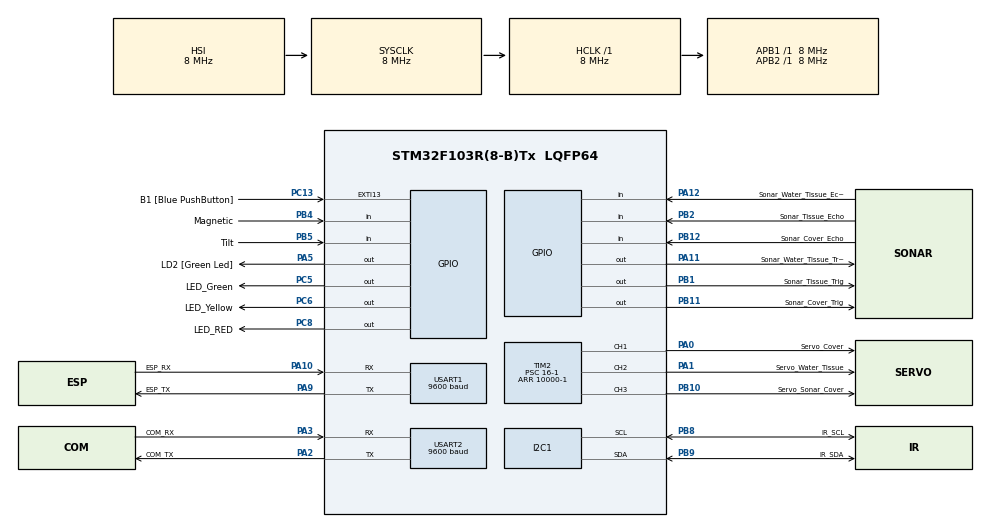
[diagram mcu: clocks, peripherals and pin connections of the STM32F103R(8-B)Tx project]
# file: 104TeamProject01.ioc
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Mcu.Family=STM32F1
Mcu.Name=STM32F103R(8-B)Tx
Mcu.Package=LQFP64
NVIC.EXTI15_10_IRQn=true\:0\:0\:false\:false\:true\:true\:true\:true
NVIC.PriorityGroup=NVIC_PRIORITYGROUP_4
NVIC.TIM1_CC_IRQn=true\:0\:0\:false\:false\:true\:true\:true\:true
NVIC.TIM1_UP_IRQn=true\:0\:0\:false\:false\:true\:true\:true\:true
NVIC.USART1_IRQn=true\:0\:0\:false\:false\:true\:true\:true\:true
PA0-WKUP.GPIO_Label=Servo_Cover
PA0-WKUP.Signal=S_TIM2_CH1_ETR
PA1.GPIO_Label=Servo_Water_Tissue
PA1.Signal=S_TIM2_CH2
PA10.GPIO_Label=ESP_RX
PA10.Mode=Asynchronous
PA10.Signal=USART1_RX
PA11.GPIO_Label=Sonar_Water_Tissue_Trig
PA11.Signal=GPIO_Output
PA12.GPIO_Label=Sonar_Water_Tissue_Echo
PA12.Signal=GPIO_Input
PA13.GPIO_Label=TMS
PA13.Mode=Serial_Wire
PA13.Signal=SYS_JTMS-SWDIO
PA14.GPIO_Label=TCK
PA14.Mode=Serial_Wire
PA14.Signal=SYS_JTCK-SWCLK
PA2.GPIO_Label=COM_TX
PA2.GPIO_Mode=GPIO_MODE_AF_PP
PA2.GPIO_PuPd=GPIO_NOPULL
PA2.GPIO_Speed=GPIO_SPEED_FREQ_LOW
PA2.Mode=Asynchronous
PA2.Signal=USART2_TX
PA3.GPIO_Label=COM_RX
PA3.GPIO_Mode=GPIO_MODE_AF_PP
PA3.GPIO_PuPd=GPIO_NOPULL
PA3.GPIO_Speed=GPIO_SPEED_FREQ_LOW
PA3.Mode=Asynchronous
PA3.Signal=USART2_RX
PA5.GPIO_Label=LD2 [Green Led]
PA5.GPIO_ModeDefaultOutputPP=GPIO_MODE_OUTPUT_PP
PA5.GPIO_PuPd=GPIO_NOPULL
PA5.GPIO_Speed=GPIO_SPEED_FREQ_LOW
PA5.Signal=GPIO_Output
PA9.GPIO_Label=ESP_TX
PA9.Mode=Asynchronous
PA9.Signal=USART1_TX
PB1.GPIO_Label=Sonar_Tissue_Trig
PB1.Signal=GPIO_Output
PB10.GPIO_Label=Servo_Sonar_Cover
PB10.Signal=S_TIM2_CH3
PB11.GPIO_Label=Sonar_Cover_Trig
PB11.Signal=GPIO_Output
PB12.GPIO_Label=Sonar_Cover_Echo
PB12.Signal=GPIO_Input
PB2.GPIO_Label=Sonar_Tissue_Echo
PB2.Signal=GPIO_Input
PB3.GPIO_Label=SWO
PB3.Signal=SYS_JTDO-TRACESWO
PB4.GPIO_Label=Magnetic
PB4.Signal=GPIO_Input
PB5.GPIO_Label=Tilt
PB5.GPIO_PuPd=GPIO_PULLUP
PB5.Signal=GPIO_Input
PB8.GPIO_Label=IR_SCL
PB8.Mode=I2C
PB8.Signal=I2C1_SCL
PB9.GPIO_Label=IR_SDA
PB9.Mode=I2C
PB9.Signal=I2C1_SDA
PC13-TAMPER-RTC.GPIO_Label=B1 [Blue PushButton]
PC13-TAMPER-RTC.GPIO_PuPd=GPIO_NOPULL
PC13-TAMPER-RTC.Signal=GPXTI13
PC14-OSC32_IN.Mode=LSE-External-Oscillator
PC14-OSC32_IN.Signal=RCC_OSC32_IN
PC15-OSC32_OUT.Mode=LSE-External-Oscillator
PC15-OSC32_OUT.Signal=RCC_OSC32_OUT
PC5.GPIO_Label=LED_Green
PC5.Signal=GPIO_Output
PC6.GPIO_Label=LED_Yellow
PC6.Signal=GPIO_Output
PC8.GPIO_Label=LED_RED
PC8.Signal=GPIO_Output
PD0-OSC_IN.Mode=HSE-External-Clock-Source
PD0-OSC_IN.Signal=RCC_OSC_IN
PD1-OSC_OUT.Mode=HSE-External-Clock-Source
PD1-OSC_OUT.Signal=RCC_OSC_OUT
ProjectManager.HeapSize=0x200
ProjectManager.StackSize=0x400
ProjectManager.TargetToolchain=STM32CubeIDE
RCC.AHBFreq_Value=8000000
RCC.APB1Freq_Value=8000000
RCC.APB1TimFreq_Value=8000000
RCC.APB2Freq_Value=8000000
RCC.APB2TimFreq_Value=8000000
RCC.HCLKFreq_Value=8000000
RCC.PLLMUL=RCC_PLL_MUL16
RCC.RTCClockSelection=RCC_RTCCLKSOURCE_LSE
RCC.SYSCLKFreq_VALUE=8000000
RCC.USBFreq_Value=64000000
SH.S_TIM2_CH1_ETR.0=TIM2_CH1,PWM Generation1 CH1
SH.S_TIM2_CH2.0=TIM2_CH2,PWM Generation2 CH2
SH.S_TIM2_CH3.0=TIM2_CH3,PWM Generation3 CH3
TIM1.Prescaler=8-1
TIM2.Channel-PWM\ Generation1\ CH1=TIM_CHANNEL_1
TIM2.Channel-PWM\ Generation2\ CH2=TIM_CHANNEL_2
TIM2.Channel-PWM\ Generation3\ CH3=TIM_CHANNEL_3
TIM2.Period=10000-1
TIM2.Prescaler=16-1
USART1.BaudRate=9600
USART1.VirtualMode=VM_ASYNC
USART2.BaudRate=9600
USART2.VirtualMode=VM_ASYNC
VP_TIM1_VS_ClockSourceINT.Mode=Internal
VP_TIM2_VS_ClockSourceINT.Mode=Internal
board=NUCLEO-F103RB

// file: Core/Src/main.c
/* USER CODE BEGIN Header */
/**
  ******************************************************************************
  * @file           : main.c
  * @brief          : Main program body
  ******************************************************************************
  * @attention
  *
  * Copyright (c) 2024 STMicroelectronics.
  * All rights reserved.
  *
  * This software is licensed under terms that can be found in the LICENSE file
  * in the root directory of this software component.
  * If no LICENSE file comes with this software, it is provided AS-IS.
  *
  ******************************************************************************
  */
/* USER CODE END Header */
#include "main.h"
#include "usart.h"

/* USER CODE BEGIN Includes */
#include"toilet.h"
//#include"esp_control.h"
#include"module_control.h"
#include<stdio.h>
#include<string.h>
#include<stdlib.h>
/* USER CODE END Includes */

void SystemClock_Config(void);
/* USER CODE BEGIN PFP */
int _write(int fd, char *ptr, int len)
{
	HAL_UART_Transmit(&huart2, (unsigned char*)ptr, len, HAL_MAX_DELAY);
	return len;
}

int _read(int file, char *ptr, int len)
{
	HAL_UART_Receive(&huart2, (unsigned char*)ptr, len, HAL_MAX_DELAY);
	return len;
}

int __io_putchar(int ch)
{
	HAL_UART_Transmit(&huart2, (unsigned char*)&ch, 1, HAL_MAX_DELAY);
	return ch;
}

int __io_getchar(void)
{
	uint8_t ch = 0;
	HAL_UART_Receive(&huart2, (uint8_t *)&ch, 1, HAL_MAX_DELAY);
	return ch;
}

/* USER CODE END PFP */

/* USER CODE BEGIN 0 */

// kyr Init 2 for full occupied test
volatile uint8_t OCCUPIED_STALL_CNT = 2;
// kyr add before occupied stall  and kyr Init 2 for full occupied test
uint8_t BEFORE_OCCUPIED_STALL_CNT;
volatile uint8_t is_saturation = 1;

// --------------------------------

// -----------------------------------

extern uint16_t Rx_Head;
extern uint16_t Rx_Tail;

/* USER CODE END 0 */

int main(void)
{
	/* USER CODE BEGIN 1 */
	setvbuf(stdin, NULL, _IONBF, 0);
	setvbuf(stdout, NULL, _IONBF, 0);

	/* USER CODE END 1 */

	/* MCU Configuration--------------------------------------------------------*/

	/* Reset of all peripherals, Initializes the Flash interface and the Systick. */
	HAL_Init();

	/* Configure the system clock */
	SystemClock_Config();

	/* Initialize all configured peripherals */
	MX_GPIO_Init();
	MX_USART2_UART_Init();
	MX_TIM1_Init();
	MX_TIM2_Init();
	MX_USART1_UART_Init();
	MX_I2C1_Init();
	/* USER CODE BEGIN 2 */

	TS stall;
	initStalls(&stall);

	/* USER CODE END 2 */

	/* Infinite loop */
	/* USER CODE BEGIN WHILE */
	HAL_TIM_Base_Init(&htim1);         // ?��?��?��?��?�� ?��?��
	__HAL_TIM_SET_COUNTER(&htim1, 0);  // ?��?��?��?��?�� ?��?��
	HAL_TIM_Base_Start_IT(&htim1);     // ?��?��?��?��?�� ?��?��

	printf("start STM32F103Rb\r\n");

  // Wait for Interrupt
	setInterrupt();

	SendAT();
	HAL_Delay(100);

	WifiAccess();
	HAL_Delay(5000);

	RaspiTCPSocketAccess();
	HAL_Delay(100);

	HAL_Delay(15000);

	while(1){
		uint8_t data = ReadBuffer();
		if(data == 0) break;
		printf("%c", data);
		HAL_Delay(100);
	}

	EspResponseCheck();

  while (1)
  {
    /* USER CODE END WHILE */

    /* USER CODE BEGIN 3 */
	  printf("Time: %lu, ", HAL_GetTick() / 1000);

	  checkMagnetic(&stall);
	  checkTissueAmount(&stall);

	  checkWaterTissue(&stall);
	  untactIR(&stall);
	  flushToilet(&stall);
	  checkBroken(&stall);
	  checkCongest(&stall); // 1 or 2

	  // receive congestion include outside
	  // 1 is no stand
	  // 2 is yes stand

	  // if read when raspi didnt send message
	  // we got 0

	  uint8_t temp = EspResponseCheck();
	  if(temp)
		  is_saturation = temp;
	  printf("main: %u\r\n", is_saturation);
	  res_from_raspi = 1;

	  if(res_from_raspi == 1){
		  // HONJOB
		  SendData(strlen((char *)"HONJOB\r\n"), 0, 0, "HONJOB\r\n");
	  }
	  else if(res_from_raspi == 2){
		  // POHWA
		  SendData(strlen((char *)"POHWA\r\n"), 0, 0, "POHWA\r\n");
	  }
  	  HAL_Delay(1000);

  	  printf("\r\n");
  }
  /* USER CODE END 3 */
}

void SystemClock_Config(void)
{
  RCC_OscInitTypeDef RCC_OscInitStruct = {0};
  RCC_ClkInitTypeDef RCC_ClkInitStruct = {0};

  /** Initializes the RCC Oscillators according to the specified parameters
  * in the RCC_OscInitTypeDef structure.
  */
  RCC_OscInitStruct.OscillatorType = RCC_OSCILLATORTYPE_HSI;
  RCC_OscInitStruct.HSIState = RCC_HSI_ON;
  RCC_OscInitStruct.HSICalibrationValue = RCC_HSICALIBRATION_DEFAULT;
  RCC_OscInitStruct.PLL.PLLState = RCC_PLL_NONE;
  if (HAL_RCC_OscConfig(&RCC_OscInitStruct) != HAL_OK)
  {
    Error_Handler();
  }

  /** Initializes the CPU, AHB and APB buses clocks
  */
  RCC_ClkInitStruct.ClockType = RCC_CLOCKTYPE_HCLK|RCC_CLOCKTYPE_SYSCLK
                              |RCC_CLOCKTYPE_PCLK1|RCC_CLOCKTYPE_PCLK2;
  RCC_ClkInitStruct.SYSCLKSource = RCC_SYSCLKSOURCE_HSI;
  RCC_ClkInitStruct.AHBCLKDivider = RCC_SYSCLK_DIV1;
  RCC_ClkInitStruct.APB1CLKDivider = RCC_HCLK_DIV1;
  RCC_ClkInitStruct.APB2CLKDivider = RCC_HCLK_DIV1;

  if (HAL_RCC_ClockConfig(&RCC_ClkInitStruct, FLASH_LATENCY_0) != HAL_OK)
  {
    Error_Handler();
  }
}

void Error_Handler(void)
{
  __disable_irq();
  while (1)
  {
  }
}
